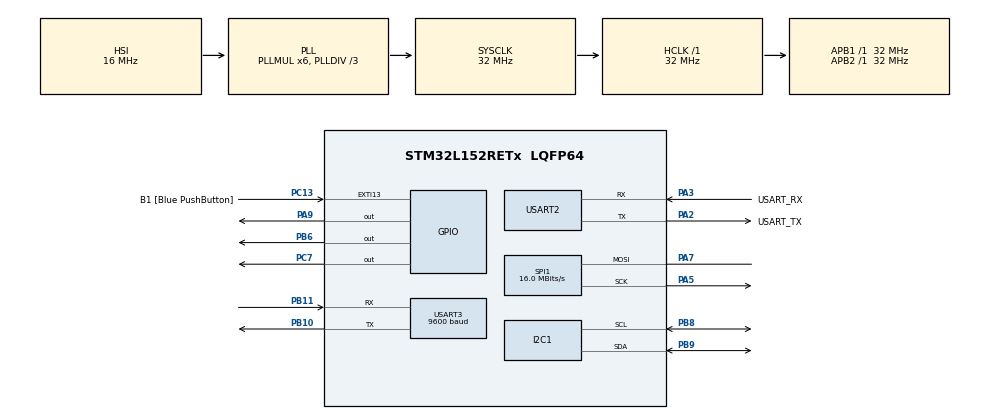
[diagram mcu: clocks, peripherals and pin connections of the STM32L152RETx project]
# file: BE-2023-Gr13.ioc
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FREERTOS.Tasks01=defaultTask,24,128,StartDefaultTask,Default,NULL,Dynamic,NULL,NULL
FREERTOS.configTICK_RATE_HZ=10
FREERTOS.configUSE_NEWLIB_REENTRANT=1
Mcu.Family=STM32L1
Mcu.Name=STM32L152RETx
Mcu.Package=LQFP64
NVIC.PriorityGroup=NVIC_PRIORITYGROUP_4
NVIC.TIM2_IRQn=true\:15\:0\:false\:false\:true\:false\:false\:true\:true
NVIC.TimeBase=TIM2_IRQn
NVIC.TimeBaseIP=TIM2
PA13.GPIO_Label=TMS
PA13.Mode=Serial_Wire
PA13.Signal=SYS_JTMS-SWDIO
PA14.GPIO_Label=TCK
PA14.Mode=Serial_Wire
PA14.Signal=SYS_JTCK-SWCLK
PA2.GPIO_Label=USART_TX
PA2.Mode=Asynchronous
PA2.Signal=USART2_TX
PA3.GPIO_Label=USART_RX
PA3.Mode=Asynchronous
PA3.Signal=USART2_RX
PA5.Mode=Simplex_Bidirectional_Master
PA5.Signal=SPI1_SCK
PA7.Mode=Simplex_Bidirectional_Master
PA7.Signal=SPI1_MOSI
PA9.Signal=GPIO_Output
PB10.Mode=Asynchronous
PB10.Signal=USART3_TX
PB11.Mode=Asynchronous
PB11.Signal=USART3_RX
PB3.GPIO_Label=SWO
PB3.Signal=SYS_JTDO-TRACESWO
PB6.Signal=GPIO_Output
PB8.Mode=I2C
PB8.Signal=I2C1_SCL
PB9.Mode=I2C
PB9.Signal=I2C1_SDA
PC13-WKUP2.GPIO_Label=B1 [Blue PushButton]
PC13-WKUP2.Signal=GPXTI13
PC14-OSC32_IN.Mode=LSE-External-Oscillator
PC14-OSC32_IN.Signal=RCC_OSC32_IN
PC15-OSC32_OUT.Mode=LSE-External-Oscillator
PC15-OSC32_OUT.Signal=RCC_OSC32_OUT
PC7.Signal=GPIO_Output
PH0-OSC_IN.Mode=HSE-External-Clock-Source
PH0-OSC_IN.Signal=RCC_OSC_IN
PH1-OSC_OUT.Signal=RCC_OSC_OUT
ProjectManager.HeapSize=0x200
ProjectManager.StackSize=0x400
ProjectManager.TargetToolchain=STM32CubeIDE
RCC.48MHZClocksFreq_Value=48000000
RCC.AHBFreq_Value=32000000
RCC.APB1Freq_Value=32000000
RCC.APB1TimFreq_Value=32000000
RCC.APB2Freq_Value=32000000
RCC.APB2TimFreq_Value=32000000
RCC.HCLKFreq_Value=32000000
RCC.HSE_VALUE=8000000
RCC.HSI_VALUE=16000000
RCC.MSI_VALUE=2097000
RCC.PLLDIV=RCC_PLL_DIV3
RCC.PLLMUL=RCC_PLL_MUL6
RCC.RTCClockSelectionVirtual=RCC_RTCCLKSOURCE_LSE
RCC.SYSCLKFreq_VALUE=32000000
RCC.SYSCLKSource=RCC_SYSCLKSOURCE_PLLCLK
RCC.USBOutput=48000000
RCC.VCOOutputFreq_Value=96000000
SPI1.CalculateBaudRate=16.0 MBits/s
SPI1.Direction=SPI_DIRECTION_1LINE
SPI1.Mode=SPI_MODE_MASTER
SPI1.VirtualType=VM_MASTER
USART2.VirtualMode=VM_ASYNC
USART3.BaudRate=9600
USART3.VirtualMode=VM_ASYNC
VP_FREERTOS_VS_CMSIS_V2.Mode=CMSIS_V2
VP_SYS_VS_tim2.Mode=TIM2
board=NUCLEO-L152RE

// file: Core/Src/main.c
/* USER CODE BEGIN Header */
/**
  ******************************************************************************
  * @file           : main.c
  * @brief          : Main program body
  ******************************************************************************
  * @attention
  *
  * Copyright (c) 2023 STMicroelectronics.
  * All rights reserved.
  *
  * This software is licensed under terms that can be found in the LICENSE file
  * in the root directory of this software component.
  * If no LICENSE file comes with this software, it is provided AS-IS.
  *
  ******************************************************************************
  */
/* USER CODE END Header */
#include "main.h"
#include "cmsis_os.h"
#include "i2c.h"
#include "spi.h"
#include "usart.h"
#include "gpio.h"

/* USER CODE BEGIN Includes */
#include "bmp280.h"
#include "sht31.h"
#include "ST7735.h"
#include "task.h"
#include "queue.h"
/* USER CODE END Includes */

/* USER CODE BEGIN PV */
BMP280_HandleTypedef bmp280;
float temperature=0,pressure=0,humidity=0;
uint32_t ReadTaskProfiler=0, PrintTaskProfiler=0;
QueueHandle_t xPrintQueue_temp;
QueueHandle_t xPrintQueue_press;
QueueHandle_t xPrintQueue_hum;
TaskHandle_t xTempReadHandle = NULL;
TaskHandle_t xTempPrintHandle = NULL;
float hum_value;
/* USER CODE END PV */

void SystemClock_Config(void);
void MX_FREERTOS_Init(void);
/* USER CODE BEGIN PFP */
void vPrintTemperatureValueTask(void * pvParameters);
void vReadTemperature_pressure_humidity_ValuesTask(void * pvParameters);
/* USER CODE END PFP */

int main(void)
{

  /* MCU Configuration--------------------------------------------------------*/

  /* Reset of all peripherals, Initializes the Flash interface and the Systick. */
  HAL_Init();

  /* Configure the system clock */
  SystemClock_Config();

  /* Initialize all configured peripherals */
  MX_GPIO_Init();
  MX_USART2_UART_Init();
  MX_I2C1_Init();
  MX_SPI1_Init();
  MX_USART3_UART_Init();
  /* USER CODE BEGIN 2 */
    ST7735_Init();
    bmp280_init_default_params(&bmp280.params);
    bmp280.addr = BMP280_I2C_ADDRESS_1;
    bmp280.i2c = &hi2c1;
    bmp280_init(&bmp280, &bmp280.params);
    xPrintQueue_temp = xQueueCreate(50, sizeof(float));
    xPrintQueue_press = xQueueCreate(50, sizeof(float));
    xPrintQueue_hum = xQueueCreate(50, sizeof(float));

    xTaskCreate(vReadTemperature_pressure_humidity_ValuesTask,
      		      "Reading temperature",
      		  	  100,
      			  NULL,
      			  1,
      			  &xTempReadHandle);

    xTaskCreate(vPrintTemperatureValueTask,
       		      "Printing temperature",
       		  	  300,
       			  NULL,
       			  1,
       			  &xTempPrintHandle);
  /* USER CODE END 2 */

  /* Init scheduler */
  osKernelInitialize();  /* Call init function for freertos objects (in freertos.c) */
  MX_FREERTOS_Init();

  /* Start scheduler */
  osKernelStart();

  /* We should never get here as control is now taken by the scheduler */
  /* Infinite loop */
  while (1)
  {

  }
}

void SystemClock_Config(void)
{
  RCC_OscInitTypeDef RCC_OscInitStruct = {0};
  RCC_ClkInitTypeDef RCC_ClkInitStruct = {0};

  /** Configure the main internal regulator output voltage
  */
  __HAL_PWR_VOLTAGESCALING_CONFIG(PWR_REGULATOR_VOLTAGE_SCALE1);

  /** Initializes the RCC Oscillators according to the specified parameters
  * in the RCC_OscInitTypeDef structure.
  */
  RCC_OscInitStruct.OscillatorType = RCC_OSCILLATORTYPE_HSI;
  RCC_OscInitStruct.HSIState = RCC_HSI_ON;
  RCC_OscInitStruct.HSICalibrationValue = RCC_HSICALIBRATION_DEFAULT;
  RCC_OscInitStruct.PLL.PLLState = RCC_PLL_ON;
  RCC_OscInitStruct.PLL.PLLSource = RCC_PLLSOURCE_HSI;
  RCC_OscInitStruct.PLL.PLLMUL = RCC_PLL_MUL6;
  RCC_OscInitStruct.PLL.PLLDIV = RCC_PLL_DIV3;
  if (HAL_RCC_OscConfig(&RCC_OscInitStruct) != HAL_OK)
  {
    Error_Handler();
  }

  /** Initializes the CPU, AHB and APB buses clocks
  */
  RCC_ClkInitStruct.ClockType = RCC_CLOCKTYPE_HCLK|RCC_CLOCKTYPE_SYSCLK
                              |RCC_CLOCKTYPE_PCLK1|RCC_CLOCKTYPE_PCLK2;
  RCC_ClkInitStruct.SYSCLKSource = RCC_SYSCLKSOURCE_PLLCLK;
  RCC_ClkInitStruct.AHBCLKDivider = RCC_SYSCLK_DIV1;
  RCC_ClkInitStruct.APB1CLKDivider = RCC_HCLK_DIV1;
  RCC_ClkInitStruct.APB2CLKDivider = RCC_HCLK_DIV1;

  if (HAL_RCC_ClockConfig(&RCC_ClkInitStruct, FLASH_LATENCY_1) != HAL_OK)
  {
    Error_Handler();
  }
}

/* USER CODE BEGIN 4 */
void vReadTemperature_pressure_humidity_ValuesTask(void * pvParameters){

	uint8_t Data[40];
	uint16_t size;
	//float temperature=0,pressure=0,humidity=0;
	while(1){
    while (!bmp280_read_float(&bmp280, &temperature, &pressure)) {
			size = sprintf((char *)Data,"Temperature/pressure reading failed\n\r");
			 HAL_UART_Transmit(&huart2, Data, size, 1000);
			 for(int i=0;i<100000;i++);
			 }
    xQueueSend(xPrintQueue_press, &pressure, 0);
	xQueueSend(xPrintQueue_temp, &temperature, 0);
    humidity = humidity_read_value (&hi2c1,&huart2);
    xQueueSend(xPrintQueue_hum, &humidity, 0);
	ReadTaskProfiler++;
	for(int i=0;i<1400000;i++);
	}
}

void vPrintTemperatureValueTask(void * pvParameters){
	//float temperature=0,pressure=0,humidity=0;
	 char Data_temp[30];
	 char Data_pres[30];
	 char Data_hum[30];
	 uint8_t buf[15];
	 int size;
	while(1){
		if ((xQueueReceive(xPrintQueue_temp,&temperature,portMAX_DELAY) == pdPASS)&&(xQueueReceive(xPrintQueue_press,&pressure,portMAX_DELAY))&&(xQueueReceive(xPrintQueue_hum,&humidity,portMAX_DELAY) == pdPASS)){
			sprintf(Data_temp,"Temp:%.1f C",temperature);
			sprintf(Data_pres,"Press:%.1f Kpa",pressure/1000);
			sprintf(Data_hum,"Humidity: %.1f %",humidity);
			ST7735_DrawString(1,4,Data_temp,ORANGE);
			ST7735_DrawString(1,6,Data_pres,ORANGE);
			ST7735_DrawString(1,8,Data_hum,ORANGE);
			sprintf(Data_temp,"Temp:%.1f C \n\r",temperature);
			sprintf(Data_pres,"Press:%.1f Kpa \n\r",pressure/1000);
			sprintf(Data_hum,"Humidity: %.1f % \n\r",humidity);
			HAL_UART_Transmit(&huart3,(char*)Data_temp, sizeof(Data_temp),100);
			for(int i=0;i<10000;i++);
			HAL_UART_Transmit(&huart3,(char*)Data_pres, sizeof(Data_pres),100);
			for(int i=0;i<10000;i++);
			HAL_UART_Transmit(&huart3,(char*)Data_hum, sizeof(Data_hum),100);
			for(int i=0;i<10000;i++);
		}
		else {
			size= sprintf( (char*)buf, "error2 \n\r");
			HAL_UART_Transmit(&huart2, buf, size, 1000);

		}
		PrintTaskProfiler++;
		}

}

/* USER CODE END 4 */

void HAL_TIM_PeriodElapsedCallback(TIM_HandleTypeDef *htim)
{
  if (htim->Instance == TIM2) {
    HAL_IncTick();
  }
}

void Error_Handler(void)
{
  __disable_irq();
  while (1)
  {
  }
}
